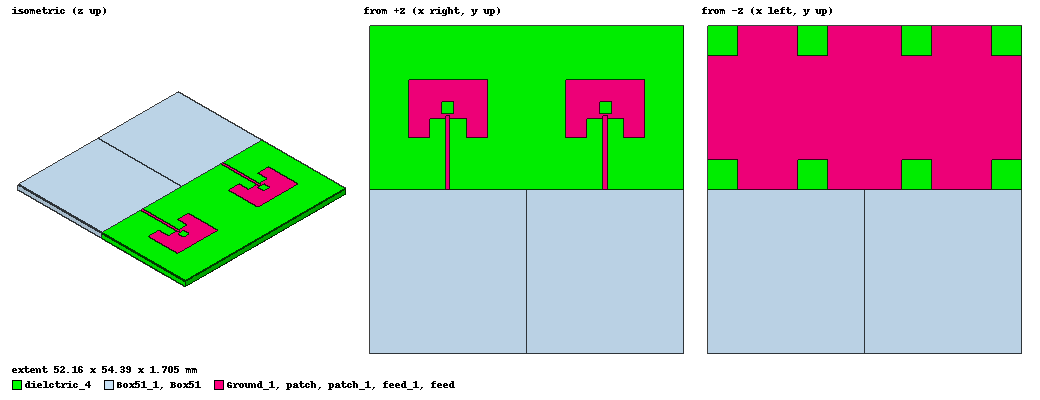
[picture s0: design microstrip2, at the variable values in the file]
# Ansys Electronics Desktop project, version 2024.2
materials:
  vacuum: permittivity=1
  copper: permeability=0.999991 conductivity=58000000
  FR4_epoxy: permittivity=4.4 dielectric_loss_tangent=0.02

design microstrip2 (HFSS, HFSS Modal Network, model units mm)
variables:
  T_diel = 1.6mm
  L = 9.586mm
  W = 13.04mm
  T = 0.035mm
  L_feed = 11.74mm
  W_feed = 3.058mm
  W_g = 2*W
  L_g = 1.5*L_feed+L
  T_g = T
  partial = 0.35
  L_offset = partial*L/2
  W_slot = 2*W_feed
  L_slot = L/2-L_offset
  G_slot_W = 5mm
  G_slot_L = 5mm
  G_slot_T = T_g
  W_feed1 = 0.709mm
  L_feed1 = 12.33mm
  W_feed2 = 1.65mm
  L_feed2 = 12.018mm
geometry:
  Ground = box(corner=(-W_g/2, 0mm, 0mm), size=(W_g, L_g, T_g))
  coordinate_system diel_bottom = origin=(0mm, 0mm, T_g) x=(1mm, 0mm, 0mm) y=(0mm, 1mm, 0mm)
  dielctric = box(corner=(-W_g/2, 0mm, 0mm), size=(W_g, L_g, T_diel)) in diel_bottom
  coordinate_system diel_top = origin=(0mm, 0mm, T_diel) x=(1mm, 0mm, 0mm) y=(0mm, 1mm, 0mm) in diel_bottom
  feed [copper] = box(corner=(-W_feed1/2, 0mm, 0mm), size=(W_feed1, L_feed1, T)) in diel_top
  coordinate_system feed_point = origin=(0mm, L_feed, 0mm) x=(1mm, 0mm, 0mm) y=(0mm, 1mm, 0mm) in diel_top
  coordinate_system antenna_start = origin=(0, -L_slot, 0) x=(1mm, 0mm, 0mm) y=(0mm, 1mm, 0mm) in feed_point
  Box1 = box(corner=(-W_slot/2, 0mm, 0mm), size=(W_slot, L_slot, T)) in antenna_start
  patch [copper] = box(corner=(-W /2, 0, 0mm), size=(W, L, T)) in antenna_start
  patch.subtract(Box1)
  coordinate_system antenna2 = origin=(W_g/2, 0mm, 0mm) x=(1mm, 0mm, 0mm) y=(0mm, 1mm, 0mm)
  dielctric_1 = dielctric.duplicate_along_line(step=(W_g, 0mm, 0mm), total=4) in antenna2  # copies kept: 1
  Ground_1 [copper] = Ground.duplicate_along_line(step=(W_g, 0mm, 0mm), total=4) in antenna2  # copies kept: 1
  feed_1 [copper] = feed.duplicate_along_line(step=(W_g, 0mm, 0), total=4) in diel_top  # copies kept: 1
  patch_1 [copper] = patch.duplicate_along_line(step=(W_g, 0, 0mm), total=4) in diel_top  # copies kept: 1
  dielctric_4 [FR4_epoxy] = dielctric.duplicate_along_line(step=(0mm, -L_g, 0mm), total=2) in feed_point
  dielctric_1_1 = dielctric_1.duplicate_along_line(step=(0mm, -L_g, 0mm), total=2) in feed_point
  dielctric_4.unite(dielctric_1_1)
  dielctric_4.unite(dielctric, dielctric_1)
  coordinate_system G_slot1 = origin=(-W_g/2, 0mm, 0mm) x=(1mm, 0mm, 0mm) y=(0mm, 1mm, 0mm)
  Box2 = box(corner=(0mm, 0mm, 0mm), size=(G_slot_W, G_slot_L, G_slot_T)) in G_slot1
  Ground.subtract(Box2)
  coordinate_system G_slot2 = origin=(W_g/2, L_g, 0mm) x=(1mm, 0mm, 0mm) y=(0mm, 1mm, 0mm)
  Box3 = box(corner=(-G_slot_W, -G_slot_L, 0mm), size=(G_slot_W, G_slot_L, G_slot_T)) in G_slot2
  Ground.subtract(Box3)
  Box4 = box(corner=(0mm, -G_slot_L, 0mm), size=(G_slot_W, G_slot_L, G_slot_T)) in G_slot2
  Ground_1.subtract(Box4)
  coordinate_system G_slot3 = origin=(W_g*2, 0mm, 0mm) x=(1mm, 0mm, 0mm) y=(0mm, 1mm, 0mm) in G_slot1
  Box5 = box(corner=(-G_slot_W, 0mm, 0mm), size=(G_slot_W, G_slot_L, G_slot_T)) in G_slot3
  Ground_1.subtract(Box5)
  Box6 = box(corner=(-W_g /2, -L_g, 0mm), size=(W_g, L_g, T_diel)) in diel_bottom
  dielctric_4.subtract(Box6)
  coordinate_system diel_bottom2 = origin=(W_g, 0mm, 0mm) x=(1mm, 0mm, 0mm) y=(0mm, 1mm, 0mm) in diel_bottom
  Box7 = box(corner=(-W_g/2, -L_g, 0mm), size=(W_g, L_g, T_diel)) in diel_bottom2
  dielctric_4.subtract(Box7)
  coordinate_system GLOBAL2 = origin=(0mm, 0mm, -T_g) x=(1mm, 0mm, 0mm) y=(0mm, 1mm, 0mm) in diel_bottom2
  coordinate_system G_slot4 = origin=(0mm, L_g, 0mm) x=(1mm, 0mm, 0mm) y=(0mm, 1mm, 0mm) in G_slot1
  Box8 = box(corner=(0mm, -G_slot_L, 0mm), size=(G_slot_W, G_slot_L, G_slot_T)) in G_slot4
  coordinate_system G_slot5 = origin=(0mm, L_g, 0mm) x=(1mm, 0mm, 0mm) y=(0mm, 1mm, 0mm) in G_slot3
  Box9 = box(corner=(-G_slot_W, -G_slot_L, 0mm), size=(G_slot_W, G_slot_L, G_slot_T)) in G_slot5
  Box8_1 = Box8.copy()
  Box9_1 = Box9.copy()
  Ground.subtract(Box8_1, Box9_1)
  Ground_1.subtract(Box8, Box9)
  Box10 = box(corner=(-G_slot_W, -G_slot_L, 0mm), size=(G_slot_W, G_slot_L, G_slot_T)) in G_slot5
  Ground_1.unite(Box10)
  Box11 = box(corner=(0mm, -G_slot_L, 0mm), size=(G_slot_W, G_slot_L, G_slot_T)) in G_slot4
  Ground.unite(Box11)
  Box12 = box(corner=(-G_slot_W, 0, 0mm), size=(G_slot_W, G_slot_L, G_slot_T)) in G_slot3
  Ground_1.unite(Box12)
  Box13 = box(corner=(0mm, 0mm, 0mm), size=(G_slot_W, G_slot_L, G_slot_T)) in G_slot1
  Ground.unite(Box13)
  coordinate_system G_slot6 = origin=(0mm, W_g/2, 0mm) x=(1mm, 0mm, 0mm) y=(0mm, 1mm, 0mm) in G_slot1
  Box14 = box(corner=(0mm, -G_slot_L, 0mm), size=(G_slot_W, G_slot_L, G_slot_T)) in G_slot2
  Box15 = box(corner=(-G_slot_W, -G_slot_L, 0mm), size=(G_slot_W, G_slot_L, G_slot_T)) in G_slot2
  Ground_1.unite(Ground, Box14, Box15)
  Box16 = box(corner=(0, 0, 0mm), size=(2*W_g, 5mm, G_slot_T)) in G_slot6
  Ground_1.subtract(Box16)
  Box17 = box(corner=(0mm, 0mm, 0mm), size=(2*W_g, 5mm, G_slot_T)) in G_slot6
  Ground_1.unite(Box17)
  coordinate_system P_slot1 = origin=(W+W/2, L/16, T_g+T_diel) x=(1mm, 0mm, 0mm) y=(0mm, 1mm, 0mm) in G_slot6
  Box18 = box(corner=(0mm, 1mm, 0mm), size=(-2mm, -2mm, T)) in P_slot1
  coordinate_system P_slot2 = origin=(-W, 0mm, 0mm) x=(1mm, 0mm, 0mm) y=(0mm, 1mm, 0mm) in P_slot1
  Box19 = box(corner=(0mm, -1mm, 0mm), size=(2mm, 2mm, T)) in P_slot2
  patch.subtract(Box18, Box19)
  coordinate_system P_slot3 = origin=(W, 0mm, 0mm) x=(1mm, 0mm, 0mm) y=(0mm, 1mm, 0mm) in P_slot1
  Box20 = box(corner=(0mm, -1mm, 0mm), size=(2mm, 2mm, T)) in P_slot3
  coordinate_system P_slot4 = origin=(W, 0mm, 0mm) x=(1mm, 0mm, 0mm) y=(0mm, 1mm, 0mm) in P_slot3
  Box21 = box(corner=(0mm, -1mm, 0mm), size=(-2mm, 2mm, T)) in P_slot4
  patch_1.subtract(Box20, Box21)
  Box22 = box(corner=(1mm, -1mm, 0mm), size=(1mm, 2mm, T)) in P_slot2
  patch.unite(Box22)
  Box23 = box(corner=(-2mm, -1mm, 0mm), size=(1mm, 2mm, T)) in P_slot1
  patch.unite(Box23)
  Box24 = box(corner=(1mm, -1mm, 0mm), size=(1mm, 2mm, T)) in P_slot3
  patch_1.unite(Box24)
  Box25 = box(corner=(-1mm, 1mm, 0mm), size=(-1mm, -2mm, T)) in P_slot4
  patch_1.unite(Box25)
  coordinate_system P_slot5 = origin=(W/2, 0mm, 0mm) x=(1mm, 0mm, 0mm) y=(0mm, 1mm, 0mm) in P_slot2
  Box26 = box(corner=(-1mm, -1mm, 0mm), size=(2mm, 2mm, T*2)) in P_slot5
  patch.unite(Box26)
  coordinate_system P_slot6 = origin=(2*W, 0mm, 0mm) x=(1mm, 0mm, 0mm) y=(0mm, 1mm, 0mm) in P_slot5
  Box27 = box(corner=(-1mm, -1mm, 0mm), size=(2mm, 2mm, 2*T)) in P_slot6
  patch_1.unite(Box27)
  Box28 = box(corner=(0mm, 1mm, 0mm), size=(1mm, -2mm, T)) in P_slot2
  Box29 = box(corner=(-1mm, 1mm, 0mm), size=(1mm, -2mm, T)) in P_slot1
  patch.unite(Box28, Box29)
  Box30 = box(corner=(0mm, 1mm, 0mm), size=(1mm, -2mm, T)) in P_slot3
  Box31 = box(corner=(-1mm, 1mm, 0mm), size=(1mm, -2mm, T)) in P_slot4
  patch_1.unite(Box30, Box31)
  Box32 = box(corner=(0mm, -G_slot_W/2, 0mm), size=(G_slot_W*2, G_slot_L, G_slot_T)) in G_slot6
  Ground_1.subtract(Box32)
  Box33 = box(corner=(G_slot_L, -G_slot_W/2, 0mm), size=(G_slot_W, G_slot_L, T)) in G_slot6
  Ground_1.unite(Box33)
  Box34 = box(corner=(0mm, -G_slot_L/2, 0mm), size=(G_slot_W, G_slot_L, G_slot_T)) in G_slot6
  Ground_1.unite(Box34)
  Box35 = box(corner=(0mm, 0mm, 0mm), size=(G_slot_W, G_slot_L, G_slot_T)) in G_slot1
  Box36 = box(corner=(-G_slot_W, 0mm, 0mm), size=(G_slot_W, G_slot_L, G_slot_T)) in G_slot3
  Ground_1.subtract(Box35, Box36)
  Box37 = box(corner=(G_slot_W, 0mm, 0mm), size=(G_slot_W, G_slot_L, G_slot_T)) in G_slot1
  Box38 = box(corner=(-G_slot_W*2, 0mm, 0mm), size=(G_slot_W, G_slot_L, G_slot_T)) in G_slot3
  Ground_1.subtract(Box37, Box38)
  Box39 = box(corner=(-2*G_slot_W, 0mm, 0mm), size=(G_slot_W, G_slot_L, G_slot_T)) in G_slot3
  Box40 = box(corner=(G_slot_W, 0mm, 0mm), size=(G_slot_W, G_slot_L, G_slot_T)) in G_slot1
  Ground_1.unite(Box39, Box40)
  Box41 = box(corner=(-G_slot_W, -G_slot_L, 0mm), size=(2*G_slot_W, G_slot_L, G_slot_T)) in G_slot2
  Ground_1.subtract(Box41)
  Box42 = box(corner=(-G_slot_W, -G_slot_L, 0mm), size=(G_slot_W*2, G_slot_L, G_slot_T)) in G_slot2
  Ground_1.unite(Box42)
  Box43 = box(corner=(0, 0mm, 0mm), size=(G_slot_W, -G_slot_L, G_slot_T)) in G_slot4
  Box44 = box(corner=(0mm, 0mm, 0mm), size=(-G_slot_W, -G_slot_L, G_slot_T)) in G_slot5
  Ground_1.subtract(Box43, Box44)
  coordinate_system G_slot1.1 = origin=(3*G_slot_W, 0, 0mm) x=(1mm, 0mm, 0mm) y=(0mm, 1mm, 0mm) in G_slot1
  Box45 = box(corner=(0mm, 0mm, 0mm), size=(G_slot_W, G_slot_L, G_slot_T)) in G_slot1.1
  coordinate_system G_slot3.1 = origin=(-2*G_slot_W, 0, 0mm) x=(1mm, 0mm, 0mm) y=(0mm, 1mm, 0mm) in G_slot3
  Box46 = box(corner=(-2*G_slot_W, 0, 0mm), size=(G_slot_W, G_slot_L, G_slot_T)) in G_slot3.1
  Ground_1.subtract(Box45, Box46)
  coordinate_system G_slot4.1 = origin=(3*G_slot_W, 0, 0mm) x=(1mm, 0mm, 0mm) y=(0mm, 1mm, 0mm) in G_slot4
  Box47 = box(corner=(0mm, -G_slot_L, 0mm), size=(G_slot_W, G_slot_L, G_slot_T)) in G_slot4.1
  coordinate_system G_slot5.1 = origin=(-4*G_slot_W, 0mm, 0mm) x=(1mm, 0mm, 0mm) y=(0mm, 1mm, 0mm) in G_slot5
  Box48 = box(corner=(0mm, -G_slot_L, 0mm), size=(G_slot_W, G_slot_L, G_slot_T)) in G_slot5.1
  Ground_1.subtract(Box47, Box48)
  Box49 = box(corner=(-1mm, -1mm, 0mm), size=(2mm, 2mm, T*2)) in P_slot5
  patch.subtract(Box49)
  Box50 = box(corner=(-1mm, -1mm, 0mm), size=(2mm, 2mm, 2*T)) in P_slot6
  patch_1.subtract(Box50)
  Box51 [vacuum] = box(corner=(-W_g/2, -L_g, 0mm), size=(W_g, L_g, T_diel))
  Box51_1 [vacuum] = Box51.duplicate_along_line(step=(26mm, 0mm, 0mm), total=2)
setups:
  Setup1: HfssDriven Frequency=5GHz MaxDeltaE=0.1 MaximumPasses=6 MinimumPasses=1 MinimumConvergedPasses=1 PercentRefinement=30 BasisOrder=1 DrivenSolverType="Direct Solver"
    sweep Sweep: 2GHz to 10GHz, 401 points; Type=Interpolating InterpTolerance=0.5 InterpMaxSolns=250 InterpUsePortImped=false PassivityErrorTolerance=0.0001
